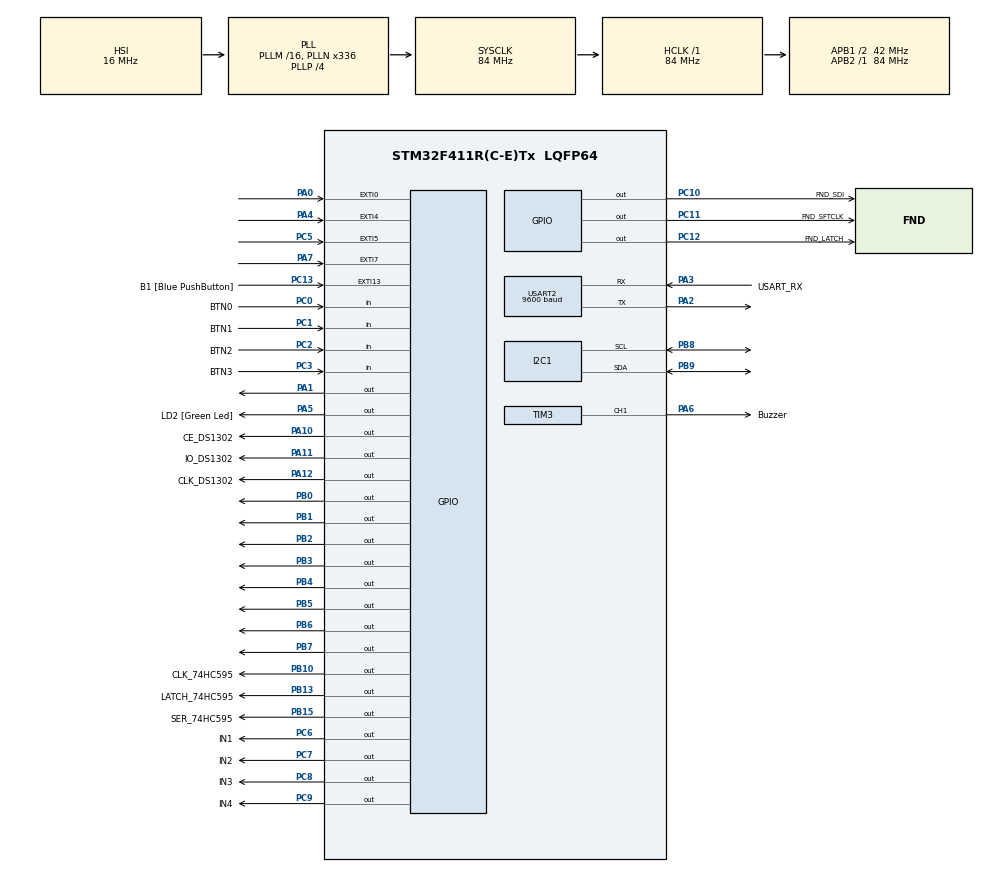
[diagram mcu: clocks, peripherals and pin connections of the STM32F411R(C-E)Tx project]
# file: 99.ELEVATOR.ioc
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FREERTOS.Mutexes01=myMutex01,Dynamic,NULL
FREERTOS.Tasks01=defaultTask,24,128,StartDefaultTask,Default,NULL,Dynamic,NULL,NULL;myTask02,8,128,StartTask02,Default,NULL,Dynamic,NULL,NULL;myTask03,8,128,StartTask03,Default,NULL,Dynamic,NULL,NULL;myTask04,8,128,StartTask04,Default,NULL,Dynamic,NULL,NULL;myTask05,8,128,StartTask05,Default,NULL,Dynamic,NULL,NULL;myTask06,8,128,StartTask06,Default,NULL,Dynamic,NULL,NULL
FREERTOS.configUSE_NEWLIB_REENTRANT=1
Mcu.Family=STM32F4
Mcu.Name=STM32F411R(C-E)Tx
Mcu.Package=LQFP64
NVIC.EXTI0_IRQn=true\:5\:0\:false\:false\:true\:true\:true\:true
NVIC.EXTI4_IRQn=true\:5\:0\:false\:false\:true\:true\:true\:true
NVIC.EXTI9_5_IRQn=true\:5\:0\:false\:false\:true\:true\:true\:true
NVIC.PriorityGroup=NVIC_PRIORITYGROUP_4
NVIC.TIM1_TRG_COM_TIM11_IRQn=true\:5\:0\:false\:false\:true\:true\:true\:true
NVIC.TIM1_UP_TIM10_IRQn=true\:15\:0\:false\:false\:true\:false\:false\:true
NVIC.TIM3_IRQn=true\:5\:0\:false\:false\:true\:true\:true\:true
NVIC.TIM5_IRQn=true\:5\:0\:false\:false\:true\:true\:true\:true
NVIC.TimeBase=TIM1_UP_TIM10_IRQn
NVIC.TimeBaseIP=TIM10
NVIC.USART2_IRQn=true\:5\:0\:false\:false\:true\:true\:true\:true
PA0-WKUP.Signal=GPXTI0
PA1.Signal=GPIO_Output
PA10.GPIO_Label=CE_DS1302
PA10.Signal=GPIO_Output
PA11.GPIO_Label=IO_DS1302
PA11.Signal=GPIO_Output
PA12.GPIO_Label=CLK_DS1302
PA12.Signal=GPIO_Output
PA13.GPIO_Label=TMS
PA13.Mode=Serial_Wire
PA13.Signal=SYS_JTMS-SWDIO
PA14.GPIO_Label=TCK
PA14.Mode=Serial_Wire
PA14.Signal=SYS_JTCK-SWCLK
PA2.Mode=Asynchronous
PA2.Signal=USART2_TX
PA3.GPIO_Label=USART_RX
PA3.Mode=Asynchronous
PA3.Signal=USART2_RX
PA4.Signal=GPXTI4
PA5.GPIO_Label=LD2 [Green Led]
PA5.Signal=GPIO_Output
PA6.GPIO_Label=Buzzer
PA6.Signal=S_TIM3_CH1
PA7.Signal=GPXTI7
PB0.Signal=GPIO_Output
PB1.Signal=GPIO_Output
PB10.GPIO_Label=CLK_74HC595
PB10.Signal=GPIO_Output
PB13.GPIO_Label=LATCH_74HC595
PB13.Signal=GPIO_Output
PB15.GPIO_Label=SER_74HC595
PB15.Signal=GPIO_Output
PB2.Signal=GPIO_Output
PB3.Signal=GPIO_Output
PB4.Signal=GPIO_Output
PB5.Signal=GPIO_Output
PB6.Signal=GPIO_Output
PB7.Signal=GPIO_Output
PB8.Mode=I2C
PB8.Signal=I2C1_SCL
PB9.Mode=I2C
PB9.Signal=I2C1_SDA
PC0.GPIO_Label=BTN0
PC0.Signal=GPIO_Input
PC1.GPIO_Label=BTN1
PC1.Signal=GPIO_Input
PC10.GPIO_Label=FND_SDI
PC10.Signal=GPIO_Output
PC11.GPIO_Label=FND_SFTCLK
PC11.Signal=GPIO_Output
PC12.GPIO_Label=FND_LATCH
PC12.Signal=GPIO_Output
PC13-ANTI_TAMP.GPIO_Label=B1 [Blue PushButton]
PC13-ANTI_TAMP.GPIO_ModeDefaultEXTI=GPIO_MODE_IT_FALLING
PC13-ANTI_TAMP.Signal=GPXTI13
PC14-OSC32_IN.Mode=LSE-External-Oscillator
PC14-OSC32_IN.Signal=RCC_OSC32_IN
PC15-OSC32_OUT.Mode=LSE-External-Oscillator
PC15-OSC32_OUT.Signal=RCC_OSC32_OUT
PC2.GPIO_Label=BTN2
PC2.Signal=GPIO_Input
PC3.GPIO_Label=BTN3
PC3.Signal=GPIO_Input
PC5.Signal=GPXTI5
PC6.GPIO_Label=IN1
PC6.Signal=GPIO_Output
PC7.GPIO_Label=IN2
PC7.Signal=GPIO_Output
PC8.GPIO_Label=IN3
PC8.Signal=GPIO_Output
PC9.GPIO_Label=IN4
PC9.Signal=GPIO_Output
PH0\ -\ OSC_IN.Mode=HSE-External-Clock-Source
PH0\ -\ OSC_IN.Signal=RCC_OSC_IN
PH1\ -\ OSC_OUT.Mode=HSE-External-Clock-Source
PH1\ -\ OSC_OUT.Signal=RCC_OSC_OUT
ProjectManager.HeapSize=0x200
ProjectManager.StackSize=0x400
ProjectManager.TargetToolchain=STM32CubeIDE
RCC.48MHZClocksFreq_Value=84000000
RCC.AHBFreq_Value=84000000
RCC.APB1CLKDivider=RCC_HCLK_DIV2
RCC.APB1Freq_Value=42000000
RCC.APB1TimFreq_Value=84000000
RCC.APB2Freq_Value=84000000
RCC.APB2TimFreq_Value=84000000
RCC.CortexFreq_Value=84000000
RCC.FLatency-AdvancedSettings=FLASH_LATENCY_2
RCC.HCLKFreq_Value=84000000
RCC.HSE_VALUE=8000000
RCC.HSI_VALUE=16000000
RCC.PLLN=336
RCC.PLLP=RCC_PLLP_DIV4
RCC.SYSCLKFreq_VALUE=84000000
RCC.SYSCLKSource=RCC_SYSCLKSOURCE_PLLCLK
RCC.VCOOutputFreq_Value=336000000
SH.S_TIM3_CH1.0=TIM3_CH1,PWM Generation1 CH1
TIM11.Period=1000-1
TIM11.Prescaler=84-1
TIM2.Prescaler=84-1
TIM3.Channel-PWM\ Generation1\ CH1=TIM_CHANNEL_1
TIM3.Period=400-1
TIM3.Prescaler=52.5-1
TIM3.Pulse-PWM\ Generation1\ CH1=200-1
TIM5.Period=1000-1
TIM5.Prescaler=1680-1
USART2.BaudRate=9600
USART2.VirtualMode=VM_ASYNC
VP_FREERTOS_VS_CMSIS_V2.Mode=CMSIS_V2
VP_SYS_VS_tim10.Mode=TIM10
VP_TIM11_VS_ClockSourceINT.Mode=Enable_Timer
VP_TIM2_VS_ClockSourceINT.Mode=Internal
VP_TIM3_VS_ClockSourceINT.Mode=Internal
VP_TIM5_VS_ClockSourceINT.Mode=Internal
board=NUCLEO-F411RE

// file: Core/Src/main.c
/* USER CODE BEGIN Header */
/**
  ******************************************************************************
  * @file           : main.c
  * @brief          : Main program body
  ******************************************************************************
  * @attention
  *
  * <h2><center>&copy; Copyright (c) 2025 STMicroelectronics.
  * All rights reserved.</center></h2>
  *
  * This software component is licensed by ST under BSD 3-Clause license,
  * the "License"; You may not use this file except in compliance with the
  * License. You may obtain a copy of the License at:
  *                        opensource.org/licenses/BSD-3-Clause
  *
  ******************************************************************************
  */
/* USER CODE END Header */
#include "main.h"
#include "cmsis_os.h"

/* USER CODE BEGIN Includes */
#include "extern.h"
/* USER CODE END Includes */

I2C_HandleTypeDef hi2c1;

TIM_HandleTypeDef htim2;
TIM_HandleTypeDef htim3;
TIM_HandleTypeDef htim5;
TIM_HandleTypeDef htim11;

UART_HandleTypeDef huart2;

/* Definitions for defaultTask */
osThreadId_t defaultTaskHandle;
const osThreadAttr_t defaultTask_attributes = {
  .name = "defaultTask",
  .stack_size = 128 * 4,
  .priority = (osPriority_t) osPriorityNormal,
};
/* Definitions for myTask02 */
osThreadId_t myTask02Handle;
const osThreadAttr_t myTask02_attributes = {
  .name = "myTask02",
  .stack_size = 128 * 4,
  .priority = (osPriority_t) osPriorityLow,
};
/* Definitions for myTask03 */
osThreadId_t myTask03Handle;
const osThreadAttr_t myTask03_attributes = {
  .name = "myTask03",
  .stack_size = 128 * 4,
  .priority = (osPriority_t) osPriorityLow,
};
/* Definitions for myTask04 */
osThreadId_t myTask04Handle;
const osThreadAttr_t myTask04_attributes = {
  .name = "myTask04",
  .stack_size = 128 * 4,
  .priority = (osPriority_t) osPriorityLow,
};
/* Definitions for myTask05 */
osThreadId_t myTask05Handle;
const osThreadAttr_t myTask05_attributes = {
  .name = "myTask05",
  .stack_size = 128 * 4,
  .priority = (osPriority_t) osPriorityLow,
};
/* Definitions for myTask06 */
osThreadId_t myTask06Handle;
const osThreadAttr_t myTask06_attributes = {
  .name = "myTask06",
  .stack_size = 128 * 4,
  .priority = (osPriority_t) osPriorityLow,
};
/* Definitions for myMutex01 */
osMutexId_t myMutex01Handle;
const osMutexAttr_t myMutex01_attributes = {
  .name = "myMutex01"
};
/* USER CODE BEGIN PV */
uint8_t rx_data; //uart2 rx byte
uint8_t is_buzzer_playing = 0;
int buzzer_msec = 0;
int buzzer_delay = 0;
volatile int TIM11_1ms_counter = 0;
volatile int TIM11_1ms_counter2 = 0;
volatile int elevator_open_counter = 0;
volatile int led_toggle_counter = 0;
volatile int buzzer_counter = 0;
/* USER CODE END PV */

void SystemClock_Config(void);
static void MX_GPIO_Init(void);
static void MX_TIM11_Init(void);
static void MX_TIM2_Init(void);
static void MX_I2C1_Init(void);
static void MX_TIM3_Init(void);
static void MX_TIM5_Init(void);
static void MX_USART2_UART_Init(void);
void StartDefaultTask(void *argument);
void StartTask02(void *argument);
void StartTask03(void *argument);
void StartTask04(void *argument);
void StartTask05(void *argument);
void StartTask06(void *argument);

/* USER CODE BEGIN 0 */

#ifdef __GNUC__    // Add for printf
/* With GCC, small printf (option LD Linker->Libraries->Small printf
   set to 'Yes') calls __io_putchar() */
#define PUTCHAR_PROTOTYPE int __io_putchar(int ch)
#else
#define PUTCHAR_PROTOTYPE int fputc(int ch, FILE *f)
#endif /* __GNUC__ */
/**
  * @brief  Retargets the C library printf function to the USART.
  * @param  None
  * @retval None
  */
PUTCHAR_PROTOTYPE   // Add for printf
{
  /* Place your implementation of fputc here */
  /* e.g. write a character to the USART3 and Loop until the end of transmission */
  HAL_UART_Transmit(&huart2, (uint8_t *)&ch, 1, 0xFFFF);

  return ch;
}
/* USER CODE END 0 */

int main(void)
{

  /* MCU Configuration--------------------------------------------------------*/

  /* Reset of all peripherals, Initializes the Flash interface and the Systick. */
  HAL_Init();

  /* Configure the system clock */
  SystemClock_Config();

  /* Initialize all configured peripherals */
  MX_GPIO_Init();
  MX_TIM11_Init();
  MX_TIM2_Init();
  MX_I2C1_Init();
  MX_TIM3_Init();
  MX_TIM5_Init();
  MX_USART2_UART_Init();
  /* USER CODE BEGIN 2 */
  i2c_lcd_init();
  init_date_time();
  init_gpio_ds1302();
  init_ds1302();
  init_dotmatrix(one);
  HAL_GPIO_WritePin(GPIOB, GPIO_PIN_10 | GPIO_PIN_13 | GPIO_PIN_15, 0);
  HAL_Delay(10); // DOTMATRIX init

  HAL_UART_Receive_IT(&huart2, &rx_data, 1);
  HAL_TIM_Base_Start_IT(&htim11);
  HAL_TIM_Base_Start_IT(&htim2);  //for make delay_us

  //stepmotor_main();
  //dotmatrix_main_func();
  //dotmatrix_main_test();
  //led_main();
  //i2c_lcd_main();
  //ds1302_main();
  //buzzer_main();
  //servo_motor_main();
//  while(1)
//  {
//	  fnd_elevator();
//  }
//  while(1)
//  {
//	  buzzer_elevator();
//  }
//  while(1)
//  {
//	  down_test();
//  }
//while(1)
//{
//	up_test();
//}
//  while(1)
// {
//	 led_all_on();
// }
  /* USER CODE END 2 */

  /* Init scheduler */
  osKernelInitialize();
  /* Create the mutex(es) */
  /* creation of myMutex01 */
  myMutex01Handle = osMutexNew(&myMutex01_attributes);

  /* Create the thread(s) */
  /* creation of defaultTask */
  defaultTaskHandle = osThreadNew(StartDefaultTask, NULL, &defaultTask_attributes);

  /* creation of myTask02 */
  myTask02Handle = osThreadNew(StartTask02, NULL, &myTask02_attributes);

  /* creation of myTask03 */
  myTask03Handle = osThreadNew(StartTask03, NULL, &myTask03_attributes);

  /* creation of myTask04 */
  myTask04Handle = osThreadNew(StartTask04, NULL, &myTask04_attributes);

  /* creation of myTask05 */
  myTask05Handle = osThreadNew(StartTask05, NULL, &myTask05_attributes);

  /* creation of myTask06 */
  myTask06Handle = osThreadNew(StartTask06, NULL, &myTask06_attributes);

  /* Start scheduler */
  osKernelStart();

  /* We should never get here as control is now taken by the scheduler */
  /* Infinite loop */

}

void SystemClock_Config(void)
{
  RCC_OscInitTypeDef RCC_OscInitStruct = {0};
  RCC_ClkInitTypeDef RCC_ClkInitStruct = {0};

  /** Configure the main internal regulator output voltage
  */
  __HAL_RCC_PWR_CLK_ENABLE();
  __HAL_PWR_VOLTAGESCALING_CONFIG(PWR_REGULATOR_VOLTAGE_SCALE1);
  /** Initializes the RCC Oscillators according to the specified parameters
  * in the RCC_OscInitTypeDef structure.
  */
  RCC_OscInitStruct.OscillatorType = RCC_OSCILLATORTYPE_HSI;
  RCC_OscInitStruct.HSIState = RCC_HSI_ON;
  RCC_OscInitStruct.HSICalibrationValue = RCC_HSICALIBRATION_DEFAULT;
  RCC_OscInitStruct.PLL.PLLState = RCC_PLL_ON;
  RCC_OscInitStruct.PLL.PLLSource = RCC_PLLSOURCE_HSI;
  RCC_OscInitStruct.PLL.PLLM = 16;
  RCC_OscInitStruct.PLL.PLLN = 336;
  RCC_OscInitStruct.PLL.PLLP = RCC_PLLP_DIV4;
  RCC_OscInitStruct.PLL.PLLQ = 4;
  if (HAL_RCC_OscConfig(&RCC_OscInitStruct) != HAL_OK)
  {
    Error_Handler();
  }
  /** Initializes the CPU, AHB and APB buses clocks
  */
  RCC_ClkInitStruct.ClockType = RCC_CLOCKTYPE_HCLK|RCC_CLOCKTYPE_SYSCLK
                              |RCC_CLOCKTYPE_PCLK1|RCC_CLOCKTYPE_PCLK2;
  RCC_ClkInitStruct.SYSCLKSource = RCC_SYSCLKSOURCE_PLLCLK;
  RCC_ClkInitStruct.AHBCLKDivider = RCC_SYSCLK_DIV1;
  RCC_ClkInitStruct.APB1CLKDivider = RCC_HCLK_DIV2;
  RCC_ClkInitStruct.APB2CLKDivider = RCC_HCLK_DIV1;

  if (HAL_RCC_ClockConfig(&RCC_ClkInitStruct, FLASH_LATENCY_2) != HAL_OK)
  {
    Error_Handler();
  }
}

static void MX_I2C1_Init(void)
{

  hi2c1.Instance = I2C1;
  hi2c1.Init.ClockSpeed = 100000;
  hi2c1.Init.DutyCycle = I2C_DUTYCYCLE_2;
  hi2c1.Init.OwnAddress1 = 0;
  hi2c1.Init.AddressingMode = I2C_ADDRESSINGMODE_7BIT;
  hi2c1.Init.DualAddressMode = I2C_DUALADDRESS_DISABLE;
  hi2c1.Init.OwnAddress2 = 0;
  hi2c1.Init.GeneralCallMode = I2C_GENERALCALL_DISABLE;
  hi2c1.Init.NoStretchMode = I2C_NOSTRETCH_DISABLE;
  if (HAL_I2C_Init(&hi2c1) != HAL_OK)
  {
    Error_Handler();
  }

}

static void MX_TIM2_Init(void)
{

  TIM_ClockConfigTypeDef sClockSourceConfig = {0};
  TIM_MasterConfigTypeDef sMasterConfig = {0};

  htim2.Instance = TIM2;
  htim2.Init.Prescaler = 84-1;
  htim2.Init.CounterMode = TIM_COUNTERMODE_UP;
  htim2.Init.Period = 4294967295;
  htim2.Init.ClockDivision = TIM_CLOCKDIVISION_DIV1;
  htim2.Init.AutoReloadPreload = TIM_AUTORELOAD_PRELOAD_DISABLE;
  if (HAL_TIM_Base_Init(&htim2) != HAL_OK)
  {
    Error_Handler();
  }
  sClockSourceConfig.ClockSource = TIM_CLOCKSOURCE_INTERNAL;
  if (HAL_TIM_ConfigClockSource(&htim2, &sClockSourceConfig) != HAL_OK)
  {
    Error_Handler();
  }
  sMasterConfig.MasterOutputTrigger = TIM_TRGO_RESET;
  sMasterConfig.MasterSlaveMode = TIM_MASTERSLAVEMODE_DISABLE;
  if (HAL_TIMEx_MasterConfigSynchronization(&htim2, &sMasterConfig) != HAL_OK)
  {
    Error_Handler();
  }

}

static void MX_TIM3_Init(void)
{

  TIM_ClockConfigTypeDef sClockSourceConfig = {0};
  TIM_MasterConfigTypeDef sMasterConfig = {0};
  TIM_OC_InitTypeDef sConfigOC = {0};

  htim3.Instance = TIM3;
  htim3.Init.Prescaler = 52.5-1;
  htim3.Init.CounterMode = TIM_COUNTERMODE_UP;
  htim3.Init.Period = 400-1;
  htim3.Init.ClockDivision = TIM_CLOCKDIVISION_DIV1;
  htim3.Init.AutoReloadPreload = TIM_AUTORELOAD_PRELOAD_DISABLE;
  if (HAL_TIM_Base_Init(&htim3) != HAL_OK)
  {
    Error_Handler();
  }
  sClockSourceConfig.ClockSource = TIM_CLOCKSOURCE_INTERNAL;
  if (HAL_TIM_ConfigClockSource(&htim3, &sClockSourceConfig) != HAL_OK)
  {
    Error_Handler();
  }
  if (HAL_TIM_PWM_Init(&htim3) != HAL_OK)
  {
    Error_Handler();
  }
  sMasterConfig.MasterOutputTrigger = TIM_TRGO_RESET;
  sMasterConfig.MasterSlaveMode = TIM_MASTERSLAVEMODE_DISABLE;
  if (HAL_TIMEx_MasterConfigSynchronization(&htim3, &sMasterConfig) != HAL_OK)
  {
    Error_Handler();
  }
  sConfigOC.OCMode = TIM_OCMODE_PWM1;
  sConfigOC.Pulse = 200-1;
  sConfigOC.OCPolarity = TIM_OCPOLARITY_HIGH;
  sConfigOC.OCFastMode = TIM_OCFAST_DISABLE;
  if (HAL_TIM_PWM_ConfigChannel(&htim3, &sConfigOC, TIM_CHANNEL_1) != HAL_OK)
  {
    Error_Handler();
  }
  HAL_TIM_MspPostInit(&htim3);

}

static void MX_TIM5_Init(void)
{

  TIM_ClockConfigTypeDef sClockSourceConfig = {0};
  TIM_MasterConfigTypeDef sMasterConfig = {0};

  htim5.Instance = TIM5;
  htim5.Init.Prescaler = 1680-1;
  htim5.Init.CounterMode = TIM_COUNTERMODE_UP;
  htim5.Init.Period = 1000-1;
  htim5.Init.ClockDivision = TIM_CLOCKDIVISION_DIV1;
  htim5.Init.AutoReloadPreload = TIM_AUTORELOAD_PRELOAD_DISABLE;
  if (HAL_TIM_Base_Init(&htim5) != HAL_OK)
  {
    Error_Handler();
  }
  sClockSourceConfig.ClockSource = TIM_CLOCKSOURCE_INTERNAL;
  if (HAL_TIM_ConfigClockSource(&htim5, &sClockSourceConfig) != HAL_OK)
  {
    Error_Handler();
  }
  sMasterConfig.MasterOutputTrigger = TIM_TRGO_RESET;
  sMasterConfig.MasterSlaveMode = TIM_MASTERSLAVEMODE_DISABLE;
  if (HAL_TIMEx_MasterConfigSynchronization(&htim5, &sMasterConfig) != HAL_OK)
  {
    Error_Handler();
  }

}

static void MX_TIM11_Init(void)
{

  htim11.Instance = TIM11;
  htim11.Init.Prescaler = 84-1;
  htim11.Init.CounterMode = TIM_COUNTERMODE_UP;
  htim11.Init.Period = 1000-1;
  htim11.Init.ClockDivision = TIM_CLOCKDIVISION_DIV1;
  htim11.Init.AutoReloadPreload = TIM_AUTORELOAD_PRELOAD_DISABLE;
  if (HAL_TIM_Base_Init(&htim11) != HAL_OK)
  {
    Error_Handler();
  }

}

static void MX_USART2_UART_Init(void)
{

  huart2.Instance = USART2;
  huart2.Init.BaudRate = 9600;
  huart2.Init.WordLength = UART_WORDLENGTH_8B;
  huart2.Init.StopBits = UART_STOPBITS_1;
  huart2.Init.Parity = UART_PARITY_NONE;
  huart2.Init.Mode = UART_MODE_TX_RX;
  huart2.Init.HwFlowCtl = UART_HWCONTROL_NONE;
  huart2.Init.OverSampling = UART_OVERSAMPLING_16;
  if (HAL_UART_Init(&huart2) != HAL_OK)
  {
    Error_Handler();
  }

}

static void MX_GPIO_Init(void)
{
  GPIO_InitTypeDef GPIO_InitStruct = {0};

  /* GPIO Ports Clock Enable */
  __HAL_RCC_GPIOC_CLK_ENABLE();
  __HAL_RCC_GPIOH_CLK_ENABLE();
  __HAL_RCC_GPIOA_CLK_ENABLE();
  __HAL_RCC_GPIOB_CLK_ENABLE();

  /*Configure GPIO pin Output Level */
  HAL_GPIO_WritePin(GPIOA, GPIO_PIN_1|LD2_Pin|CE_DS1302_Pin|IO_DS1302_Pin
                          |CLK_DS1302_Pin, GPIO_PIN_RESET);

  /*Configure GPIO pin Output Level */
  HAL_GPIO_WritePin(GPIOB, GPIO_PIN_0|GPIO_PIN_1|GPIO_PIN_2|CLK_74HC595_Pin
                          |LATCH_74HC595_Pin|SER_74HC595_Pin|GPIO_PIN_3|GPIO_PIN_4
                          |GPIO_PIN_5|GPIO_PIN_6|GPIO_PIN_7, GPIO_PIN_RESET);

  /*Configure GPIO pin Output Level */
  HAL_GPIO_WritePin(GPIOC, IN1_Pin|IN2_Pin|IN3_Pin|IN4_Pin
                          |FND_SDI_Pin|FND_SFTCLK_Pin|FND_LATCH_Pin, GPIO_PIN_RESET);

  /*Configure GPIO pin : B1_Pin */
  GPIO_InitStruct.Pin = B1_Pin;
  GPIO_InitStruct.Mode = GPIO_MODE_IT_FALLING;
  GPIO_InitStruct.Pull = GPIO_NOPULL;
  HAL_GPIO_Init(B1_GPIO_Port, &GPIO_InitStruct);

  /*Configure GPIO pins : BTN0_Pin BTN1_Pin BTN2_Pin BTN3_Pin */
  GPIO_InitStruct.Pin = BTN0_Pin|BTN1_Pin|BTN2_Pin|BTN3_Pin;
  GPIO_InitStruct.Mode = GPIO_MODE_INPUT;
  GPIO_InitStruct.Pull = GPIO_NOPULL;
  HAL_GPIO_Init(GPIOC, &GPIO_InitStruct);

  /*Configure GPIO pins : PA0 PA4 PA7 */
  GPIO_InitStruct.Pin = GPIO_PIN_0|GPIO_PIN_4|GPIO_PIN_7;
  GPIO_InitStruct.Mode = GPIO_MODE_IT_RISING;
  GPIO_InitStruct.Pull = GPIO_NOPULL;
  HAL_GPIO_Init(GPIOA, &GPIO_InitStruct);

  /*Configure GPIO pins : PA1 LD2_Pin CE_DS1302_Pin IO_DS1302_Pin
                           CLK_DS1302_Pin */
  GPIO_InitStruct.Pin = GPIO_PIN_1|LD2_Pin|CE_DS1302_Pin|IO_DS1302_Pin
                          |CLK_DS1302_Pin;
  GPIO_InitStruct.Mode = GPIO_MODE_OUTPUT_PP;
  GPIO_InitStruct.Pull = GPIO_NOPULL;
  GPIO_InitStruct.Speed = GPIO_SPEED_FREQ_LOW;
  HAL_GPIO_Init(GPIOA, &GPIO_InitStruct);

  /*Configure GPIO pin : PC5 */
  GPIO_InitStruct.Pin = GPIO_PIN_5;
  GPIO_InitStruct.Mode = GPIO_MODE_IT_RISING;
  GPIO_InitStruct.Pull = GPIO_NOPULL;
  HAL_GPIO_Init(GPIOC, &GPIO_InitStruct);

  /*Configure GPIO pins : PB0 PB1 PB2 CLK_74HC595_Pin
                           LATCH_74HC595_Pin SER_74HC595_Pin PB3 PB4
                           PB5 PB6 PB7 */
  GPIO_InitStruct.Pin = GPIO_PIN_0|GPIO_PIN_1|GPIO_PIN_2|CLK_74HC595_Pin
                          |LATCH_74HC595_Pin|SER_74HC595_Pin|GPIO_PIN_3|GPIO_PIN_4
                          |GPIO_PIN_5|GPIO_PIN_6|GPIO_PIN_7;
  GPIO_InitStruct.Mode = GPIO_MODE_OUTPUT_PP;
  GPIO_InitStruct.Pull = GPIO_NOPULL;
  GPIO_InitStruct.Speed = GPIO_SPEED_FREQ_LOW;
  HAL_GPIO_Init(GPIOB, &GPIO_InitStruct);

  /*Configure GPIO pins : IN1_Pin IN2_Pin IN3_Pin IN4_Pin
                           FND_SDI_Pin FND_SFTCLK_Pin FND_LATCH_Pin */
  GPIO_InitStruct.Pin = IN1_Pin|IN2_Pin|IN3_Pin|IN4_Pin
                          |FND_SDI_Pin|FND_SFTCLK_Pin|FND_LATCH_Pin;
  GPIO_InitStruct.Mode = GPIO_MODE_OUTPUT_PP;
  GPIO_InitStruct.Pull = GPIO_NOPULL;
  GPIO_InitStruct.Speed = GPIO_SPEED_FREQ_LOW;
  HAL_GPIO_Init(GPIOC, &GPIO_InitStruct);

  /* EXTI interrupt init*/
  HAL_NVIC_SetPriority(EXTI0_IRQn, 5, 0);
  HAL_NVIC_EnableIRQ(EXTI0_IRQn);

  HAL_NVIC_SetPriority(EXTI4_IRQn, 5, 0);
  HAL_NVIC_EnableIRQ(EXTI4_IRQn);

  HAL_NVIC_SetPriority(EXTI9_5_IRQn, 5, 0);
  HAL_NVIC_EnableIRQ(EXTI9_5_IRQn);

}

void StartDefaultTask(void *argument)
{
  /* USER CODE BEGIN 5 */
  /* Infinite loop */
  for(;;)
  {
	 elevator_button();
     osDelay(1);
  }
  /* USER CODE END 5 */
}

void StartTask02(void *argument)
{
  /* USER CODE BEGIN StartTask02 */
  /* Infinite loop */
  for(;;)
  {
	if(osMutexWait(myMutex01Handle, 1000) == osOK) // lock key
	{
		display_date_time();
		osMutexRelease(myMutex01Handle); // unlock key
	}
	osDelay(1);
  }
  /* USER CODE END StartTask02 */
}

void StartTask03(void *argument)
{
  /* USER CODE BEGIN StartTask03 */
  /* Infinite loop */
  for(;;)
  {
	  if(osMutexWait(myMutex01Handle, 1000) == osOK) // lock key
	  {
		  elevator_main();
		  led_elevator();
		  osMutexRelease(myMutex01Handle); // unlock key
	  }
	  osDelay(1);
  }
  /* USER CODE END StartTask03 */
}

void StartTask04(void *argument)
{
  /* USER CODE BEGIN StartTask04 */
  /* Infinite loop */
  for(;;)
  {
	  buzzer_elevator();
	  dotmatrix_elevator();
	  osDelay(1);
  }
  /* USER CODE END StartTask04 */
}

void StartTask05(void *argument)
{
  /* USER CODE BEGIN StartTask05 */
  /* Infinite loop */
  for(;;)
  {
	  stepmotor_main();
	  osDelay(1);
  }
  /* USER CODE END StartTask05 */
}

void StartTask06(void *argument)
{
  /* USER CODE BEGIN StartTask06 */
  /* Infinite loop */
  for(;;)
  {
	 fnd_elevator();
//    osDelay(1);
  }
  /* USER CODE END StartTask06 */
}

void HAL_TIM_PeriodElapsedCallback(TIM_HandleTypeDef *htim)
{
  if (htim->Instance == TIM10) {
    HAL_IncTick();
  }
  /* USER CODE BEGIN Callback 1 */
  if (htim->Instance == TIM11) {
	  TIM11_1ms_counter++;
	  TIM11_1ms_counter2++;
	  elevator_open_counter++;
	  led_toggle_counter++;

	if (is_buzzer_playing)
	{
		buzzer_msec++;
		if (buzzer_msec == buzzer_delay)
		{
			is_buzzer_playing = 0;
			buzzer_msec = 0;
			buzzer_delay = 0;
			htim3.Instance->CCR1=0;
		}
	}
  }

  /* USER CODE END Callback 1 */
}

void Error_Handler(void)
{
  __disable_irq();
  while (1)
  {
  }
}

/************************ (C) COPYRIGHT STMicroelectronics *****END OF FILE****/
